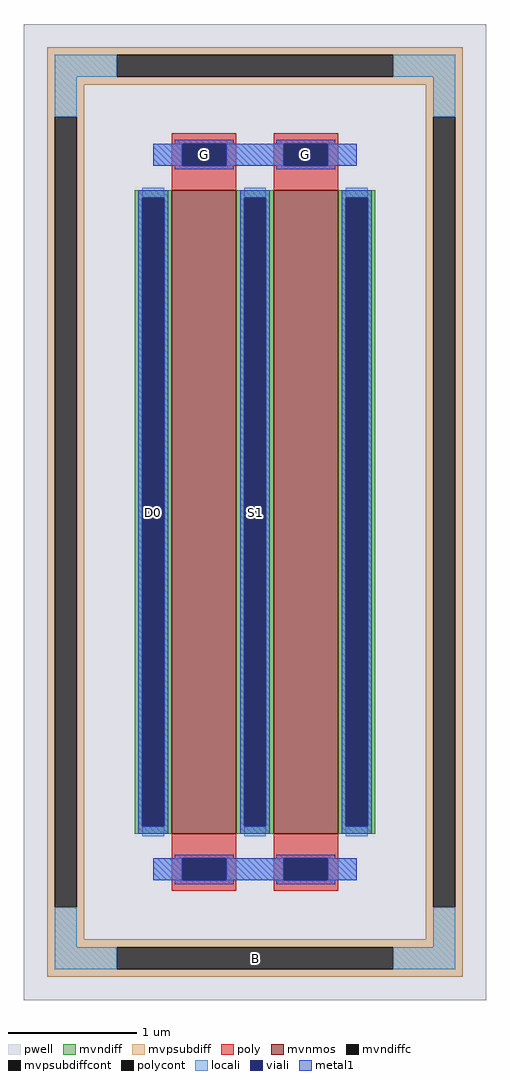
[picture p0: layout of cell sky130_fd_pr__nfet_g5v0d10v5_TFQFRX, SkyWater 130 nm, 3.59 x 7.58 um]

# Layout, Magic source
magic
tech sky130A
magscale 1 2
<< pwell >>
rect -359 -758 359 758
<< mvnmos >>
rect -129 -500 -29 500
rect 29 -500 129 500
<< mvndiff >>
rect -187 488 -129 500
rect -187 -488 -175 488
rect -141 -488 -129 488
rect -187 -500 -129 -488
rect -29 488 29 500
rect -29 -488 -17 488
rect 17 -488 29 488
rect -29 -500 29 -488
rect 129 488 187 500
rect 129 -488 141 488
rect 175 -488 187 488
rect 129 -500 187 -488
<< mvndiffc >>
rect -175 -488 -141 488
rect -17 -488 17 488
rect 141 -488 175 488
<< mvpsubdiff >>
rect -323 710 323 722
rect -323 676 -215 710
rect 215 676 323 710
rect -323 664 323 676
rect -323 614 -265 664
rect -323 -614 -311 614
rect -277 -614 -265 614
rect 265 614 323 664
rect -323 -664 -265 -614
rect 265 -614 277 614
rect 311 -614 323 614
rect 265 -664 323 -614
rect -323 -676 323 -664
rect -323 -710 -215 -676
rect 215 -710 323 -676
rect -323 -722 323 -710
<< mvpsubdiffcont >>
rect -215 676 215 710
rect -311 -614 -277 614
rect 277 -614 311 614
rect -215 -710 215 -676
<< poly >>
rect -129 572 -29 588
rect -129 538 -113 572
rect -45 538 -29 572
rect -129 500 -29 538
rect 29 572 129 588
rect 29 538 45 572
rect 113 538 129 572
rect 29 500 129 538
rect -129 -538 -29 -500
rect -129 -572 -113 -538
rect -45 -572 -29 -538
rect -129 -588 -29 -572
rect 29 -538 129 -500
rect 29 -572 45 -538
rect 113 -572 129 -538
rect 29 -588 129 -572
<< polycont >>
rect -113 538 -45 572
rect 45 538 113 572
rect -113 -572 -45 -538
rect 45 -572 113 -538
<< locali >>
rect -311 676 -215 710
rect 215 676 311 710
rect -311 614 -277 676
rect 277 614 311 676
rect -158 538 -113 572
rect -45 538 45 572
rect 113 538 158 572
rect -175 488 -141 504
rect -175 -504 -141 -488
rect -17 488 17 504
rect -17 -504 17 -488
rect 141 488 175 504
rect 141 -504 175 -488
rect -158 -572 -113 -538
rect -45 -572 45 -538
rect 113 -572 158 -538
rect -311 -676 -277 -614
rect 277 -676 311 -614
rect -311 -710 -215 -676
rect 215 -710 311 -676
<< viali >>
rect -113 538 -45 572
rect 45 538 113 572
rect -175 -488 -141 488
rect -17 -488 17 488
rect 141 -488 175 488
rect -113 -572 -45 -538
rect 45 -572 113 -538
<< metal1 >>
rect -125 572 -33 578
rect 33 572 125 578
rect -158 538 -113 572
rect -45 538 45 572
rect 113 538 158 572
rect -125 532 -33 538
rect 33 532 125 538
rect -181 488 -135 500
rect -181 -488 -175 488
rect -141 -488 -135 488
rect -181 -500 -135 -488
rect -23 488 23 500
rect -23 -488 -17 488
rect 17 -488 23 488
rect -23 -500 23 -488
rect 135 488 181 500
rect 135 -488 141 488
rect 175 -488 181 488
rect 135 -500 181 -488
rect -125 -538 -33 -532
rect 33 -538 125 -532
rect -158 -572 -113 -538
rect -45 -572 45 -538
rect 113 -572 158 -538
rect -125 -578 -33 -572
rect 33 -578 125 -572
<< labels >>
rlabel mvpsubdiffcont 0 -693 0 -693 0 B
port 5 nsew
rlabel mvndiffc -158 0 -158 0 0 D0
port 6 nsew
rlabel polycont -79 555 -79 555 0 G
port 3 nsew
rlabel mvndiffc 0 0 0 0 0 S1
port 7 nsew
rlabel polycont 79 555 79 555 0 G
port 3 nsew
<< properties >>
string FIXED_BBOX -294 -693 294 693
string gencell sky130_fd_pr__nfet_g5v0d10v5
string library sky130
string parameters w 5 l 0.5 m 1 nf 2 diffcov 100 polycov 100 guard 1 glc 1 grc 1 gtc 1 gbc 1 tbcov 100 rlcov 100 topc 1 botc 1 poverlap 0 doverlap 1 lmin 0.50 wmin 0.42 class mosfet compatible {sky130_fd_pr__nfet_01v8 sky130_fd_pr__nfet_01v8_lvt  sky130_fd_bs_flash__special_sonosfet_star  sky130_fd_pr__nfet_g5v0d10v5 sky130_fd_pr__nfet_05v0_nvt  sky130_fd_pr__nfet_03v3_nvt} full_metal 1 conn_gates 1 viasrc 100 viadrn 100 viagate 100 viagb 0 viagr 0 viagl 0 viagt 0 doports 1
<< end >>
